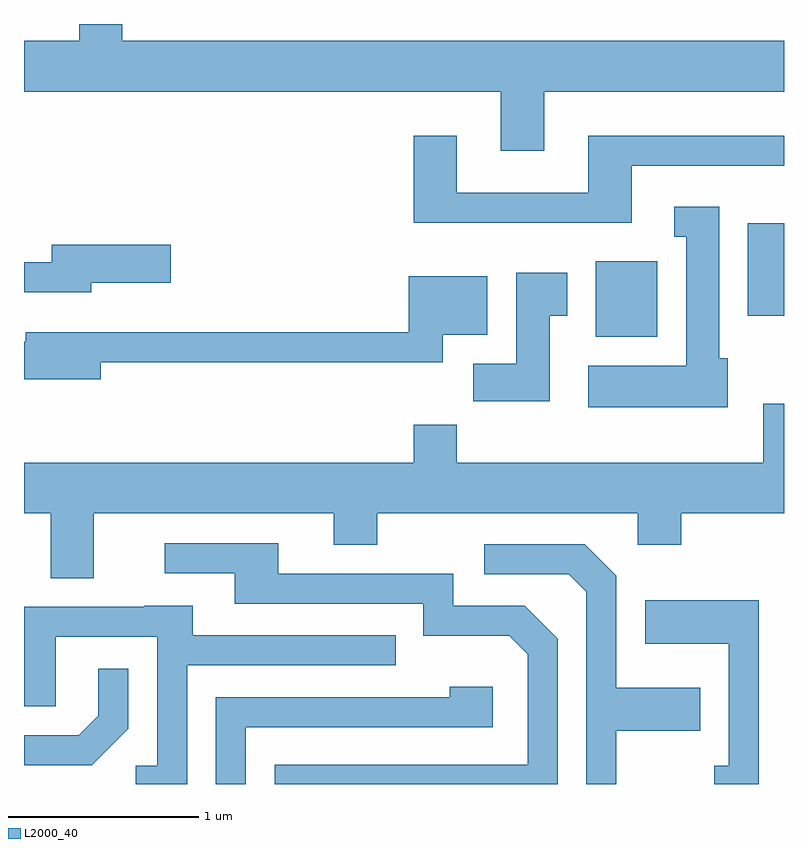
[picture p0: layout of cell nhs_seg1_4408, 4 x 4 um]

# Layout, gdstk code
import gdstk
lib = gdstk.Library(unit=1e-6, precision=1e-09)
def R(c, l, rs):  # rectangles x0, y0, x1, y1
    for r in rs: c.add(gdstk.rectangle(r[:2], r[2:], *l))
def P(c, l, *ps):  # polygons
    for p in ps: c.add(gdstk.Polygon(p, *l))
L2000_40 = (2000, 40)

nhs_seg1_4408 = lib.new_cell('nhs_seg1_4408')
R(nhs_seg1_4408, L2000_40, [(320.621,896.066,320.944,896.464), (321.421,896.176,321.611,896.664)])
P(nhs_seg1_4408, L2000_40, [(320.349,897.356),(321.611,897.356),(321.611,897.624),(318.129,897.624),(318.129,897.712),(317.901,897.712),(317.901,897.624),(317.611,897.624),(317.611,897.356),(320.121,897.356),(320.121,897.046),(320.349,897.046)],
  [(320.809,896.966),(321.611,896.966),(321.611,897.124),(320.581,897.124),(320.581,896.824),(319.889,896.824),(319.889,897.124),(319.661,897.124),(319.661,896.666),(320.809,896.666)],
  [(321.314,895.954),(321.269,895.954),(321.269,896.749),(321.033,896.749),(321.033,896.591),(321.096,896.591),(321.096,895.914),(320.581,895.914),(320.581,895.696),(321.314,895.696)],
  [(317.964,896.351),(318.384,896.351),(318.384,896.549),(317.756,896.549),(317.756,896.459),(317.611,896.459),(317.611,896.301),(317.964,896.301)],
  [(320.379,896.176),(320.469,896.176),(320.469,896.404),(320.201,896.404),(320.201,895.924),(319.976,895.924),(319.976,895.726),(320.379,895.726)],
  [(318.014,895.931),(319.814,895.931),(319.814,896.076),(320.049,896.076),(320.049,896.384),(319.636,896.384),(319.636,896.089),(317.621,896.089),(317.621,896.039),(317.611,896.039),(317.611,895.841),(318.014,895.841)],
  [(317.979,895.136),(319.241,895.136),(319.241,894.971),(319.469,894.971),(319.469,895.136),(320.841,895.136),(320.841,894.971),(321.069,894.971),(321.069,895.136),(321.611,895.136),(321.611,895.714),(321.501,895.714),(321.501,895.404),(319.889,895.404),(319.889,895.604),(319.661,895.604),(319.661,895.404),(317.611,895.404),(317.611,895.136),(317.751,895.136),(317.751,894.796),(317.979,894.796)],
  [(320.419,894.477),(320.247,894.649),(319.869,894.649),(319.869,894.819),(318.949,894.819),(318.949,894.979),(318.353,894.979),(318.353,894.821),(318.721,894.821),(318.721,894.661),(319.711,894.661),(319.711,894.491),(320.164,894.491),(320.261,894.394),(320.261,893.814),(318.931,893.814),(318.931,893.712),(320.419,893.712)],
  [(320.729,893.991),(321.169,893.991),(321.169,894.219),(320.729,894.219),(320.729,894.807),(320.562,894.974),(320.033,894.974),(320.033,894.816),(320.479,894.816),(320.571,894.724),(320.571,893.712),(320.729,893.712)],
  [(321.479,894.679),(320.881,894.679),(320.881,894.451),(321.321,894.451),(321.321,893.809),(321.243,893.809),(321.243,893.712),(321.479,893.712)],
  [(318.469,894.336),(319.568,894.336),(319.568,894.494),(318.499,894.494),(318.499,894.649),(318.245,894.649),(318.245,894.644),(317.611,894.644),(317.611,894.121),(317.779,894.121),(317.779,894.486),(318.311,894.486),(318.311,893.809),(318.198,893.809),(318.198,893.712),(318.469,893.712)],
  [(318.159,894.004),(318.159,894.318),(318.001,894.318),(318.001,894.072),(317.899,893.969),(317.611,893.969),(317.611,893.811),(317.967,893.811)],
  [(318.779,894.011),(320.079,894.011),(320.079,894.224),(319.851,894.224),(319.851,894.169),(318.621,894.169),(318.621,893.712),(318.779,893.712)])

lib.write_gds('nhs_seg1_4408.gds')
